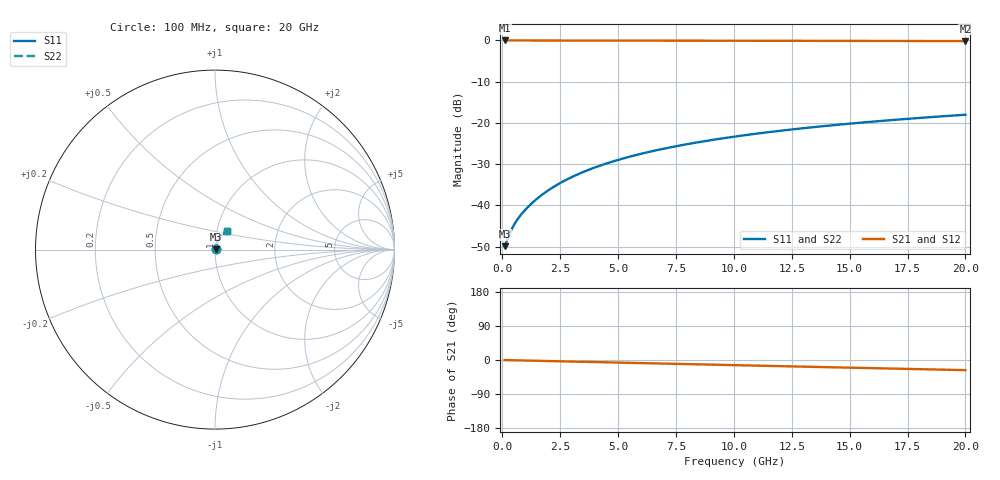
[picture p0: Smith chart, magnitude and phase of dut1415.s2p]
! Touchstone file exported from HFSS 2026.1.0
!  File:  C:/ffzhzh/LocalFiles/Ansys_Project_Files/temp_train_TMRDL_1415_1783166603_18472.aedt
!  Generated:  08:04:32 PM Jul  4, 2026
!  Design:  TMRDL
!  Project:  temp_train_TMRDL_1415_1783166603_18472
! Variables:
!  h_bsmrdl = 2um
!  h_ox = 20um
!  h_rdl = 5um
!  h_sub = 80um
!  h_tmrdl = 2.91um
!  h_tsv = 80um
!  h_via = 3um
!  l_bsmrdl = 300um
!  l_sub = 849.89um
!  l_tmrdl = 449.89um
!  m_sub = 200um
!  pitch = 27.12um
!  r_tsv = 6um
!  s_tmrdl = 10um
!  w_bsmrdl = 18um
!  w_sub = 500um
!  w_tmrdl = 19.62um
!  x_tsv_center1 = 459.7um
!  x_tsv_center2 = 777.7um
!  x_tsv_center3 = 1247.21um
!  x_tsv_center4 = 1565.21um
!  x_tsv_center5 = 2034.72um
!  x_tsv_center6 = 2352.72um
# GHz S MA R 50.000000
! Terminal data exported
! Port[1] = TM_RDL1_1_T1
! Port[2] = TM_RDL1_1_T2
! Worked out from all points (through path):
!   200 points, 100 MHz to 20 GHz, reference 50 ohm
!   highest |S21| = -0.03 dB at 100 MHz (marker M1); lowest = -0.2 dB at 20 GHz (marker M2)
!   group delay of S21, straight-line fit = 3.71 ps
!   lowest |S11| = -49.9 dB at 100 MHz (marker M3), VSWR 1.01, Z = 50.3 + j0.101 ohm
!   |S11| at or under -10 dB: start of sweep to end of sweep
!   |S22| runs from -49.9 to -18.0 dB; largest |S21 - S12| = 2.6e-15
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0.1  0.003201 18.3  0.997 -0.2  0.997 -0.2  0.003201 18.3
! Gamma 0 0 0 0
! Port Impedance 50 0 50 0
0.3  0.004417 39.5  0.9966 -0.5  0.9966 -0.5  0.004417 39.5
0.4  0.005104 44.7  0.9964 -0.6  0.9964 -0.6  0.005104 44.7
0.5  0.005769 48.5  0.9962 -0.7  0.9962 -0.7  0.005769 48.5
0.6  0.006411 51.4  0.9961 -0.9  0.9961 -0.9  0.006411 51.4
0.7  0.007037 53.8  0.9959 -1.0  0.9959 -1.0  0.007037 53.8
0.9  0.008268 57.9  0.9957 -1.3  0.9957 -1.3  0.008268 57.9
1.2  0.01013 62.4  0.9955 -1.7  0.9955 -1.7  0.01013 62.4
1.7  0.01333 67.3  0.9953 -2.4  0.9953 -2.4  0.01333 67.3
2.2  0.01663 70.2  0.9951 -3.1  0.9951 -3.1  0.01663 70.2
2.8  0.02066 72.2  0.9948 -3.9  0.9948 -3.9  0.02066 72.2
3.5  0.02541 73.3  0.9945 -4.8  0.9945 -4.8  0.02541 73.3
4.2  0.03015 73.7  0.9941 -5.8  0.9941 -5.8  0.03015 73.7
5  0.03555 73.7  0.9935 -6.9  0.9935 -6.9  0.03555 73.7
5.9  0.04156 73.2  0.9929 -8.1  0.9929 -8.1  0.04156 73.2
6.8  0.0475 72.6  0.9922 -9.3  0.9922 -9.3  0.0475 72.6
8.3  0.05721 71.1  0.9909 -11.3  0.9909 -11.3  0.05721 71.1
10.1  0.06855 69.2  0.9892 -13.7  0.9892 -13.7  0.06855 69.2
11.7  0.07835 67.4  0.9877 -15.9  0.9877 -15.9  0.07835 67.4
13.4  0.0885 65.4  0.986 -18.1  0.986 -18.1  0.08849 65.4
16.7  0.1074 61.5  0.9828 -22.5  0.9828 -22.5  0.1074 61.5
20  0.1254 57.5  0.9795 -26.8  0.9795 -26.8  0.1254 57.6
